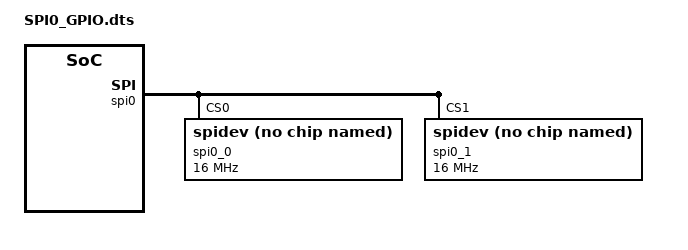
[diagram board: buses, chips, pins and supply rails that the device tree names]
/dts-v1/;
/plugin/;

/ {
    compatible = "ti,beaglebone-black";

    /* identification */
    part-number = "BB-SPI0-OLED";

    /* version */
    version = "00A0";

    /* state the resources this cape uses */
    exclusive-use =
        /* the pin header uses */
        "P9.18", /* SIMO SPI0_D1 */
        "P9.22", /* SCLK SPI0 */
        "P9.23", /* CS GPIO */
        "P9.24", /* RES GPIO */
        "P9.26", /* DC GPIO */
        "P8.17", /* BTN 1 */
        "P8.14", /* BTN 2 */
        "spi1";

    fragment@0 {
        target = <&am33xx_pinmux>;
        __overlay__ {
            pinctrl_spi0: pinctrl_spi0_pins {
                pinctrl-single,pins = <
                    0x158 0x30    /* P9_18 = spi0_d1    , OUTPUT_PULLUP | MODE0 = 0b0110000 */
                    0x150 0x30    /* P9_22 = spi0_sclk  , OUTPUT_PULLUP | MODE0 = 0b0110000 */
                    
                    0x044 0x17    /* P9_23 = gpio1[17]  , OUTPUT_PULLUP | MODE7 = 0b0010111 */
                    0x184 0x07    /* P9_24 = gpio0[15]  , OUTPUT_PULLDOWN | MODE7 = 0b0000111 */
                    0x180 0x17    /* P9_26 = gpio0[14]  , OUTPUT_PULLUP | MODE7 = 0b0010111 */
                    
                    0x02C 0x27    /* P8_17 = gpio0[27]  , INPUT_PULLDOWN | MODE7 = 0b0100111 */
                    0x028 0x27    /* P8_14 = gpio0[26]  , INPUT_PULLDOWN | MODE7 = 0b0100111 */
                    
                >;
            };
        };
    };

    fragment@1 {
        target = <&spi0>;
        __overlay__ {
            #address-cells     = <1>;
            #size-cells     = <0>;
            status            = "okay";
            pinctrl-names    = "default";
            pinctrl-0        = <&pinctrl_spi0>;

            spi0_0{
                #address-cells       = <1>;
                #size-cells       = <0>;
                compatible           = "spidev";
                reg               = <0>;
                spi-max-frequency = <16000000>;
                spi-cpha;
                // Mode 1 (CPOL = 0, CPHA = 1) ref pg 4537
            };
            spi0_1{
                #address-cells       = <1>;
                #size-cells       = <0>;
                compatible           = "spidev";
                reg               = <1>;
                spi-max-frequency = <16000000>;
                spi-cpha;
                // Mode 1 (CPOL = 0, CPHA = 1) ref pg 4537
            };
        };
    };
};

